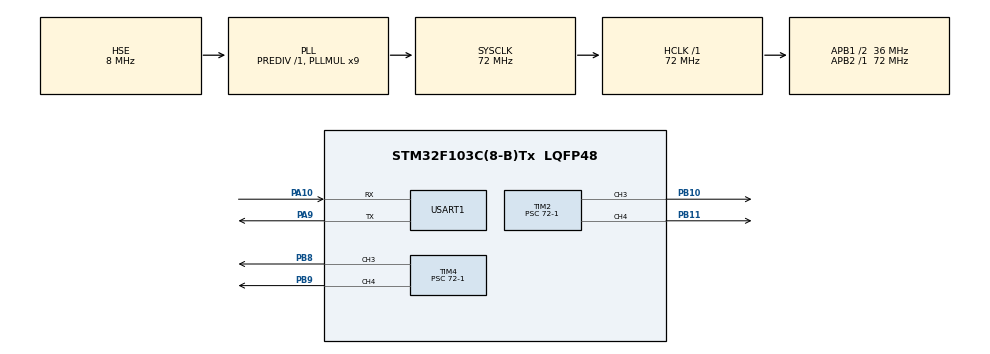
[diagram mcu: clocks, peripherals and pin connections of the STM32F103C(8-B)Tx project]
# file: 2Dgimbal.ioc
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Mcu.Family=STM32F1
Mcu.Name=STM32F103C(8-B)Tx
Mcu.Package=LQFP48
NVIC.PriorityGroup=NVIC_PRIORITYGROUP_4
NVIC.TIM2_IRQn=true\:0\:0\:false\:false\:true\:true\:true\:true
NVIC.USART1_IRQn=true\:0\:0\:false\:false\:true\:true\:true\:true
PA10.Mode=Asynchronous
PA10.Signal=USART1_RX
PA13.Mode=Serial_Wire
PA13.Signal=SYS_JTMS-SWDIO
PA14.Mode=Serial_Wire
PA14.Signal=SYS_JTCK-SWCLK
PA9.Mode=Asynchronous
PA9.Signal=USART1_TX
PB10.Signal=S_TIM2_CH3
PB11.Signal=S_TIM2_CH4
PB8.Signal=S_TIM4_CH3
PB9.Signal=S_TIM4_CH4
PD0-OSC_IN.Mode=HSE-External-Oscillator
PD0-OSC_IN.Signal=RCC_OSC_IN
PD1-OSC_OUT.Mode=HSE-External-Oscillator
PD1-OSC_OUT.Signal=RCC_OSC_OUT
ProjectManager.HeapSize=0x200
ProjectManager.StackSize=0x400
ProjectManager.TargetToolchain=CMake
RCC.AHBFreq_Value=72000000
RCC.APB1CLKDivider=RCC_HCLK_DIV2
RCC.APB1Freq_Value=36000000
RCC.APB1TimFreq_Value=72000000
RCC.APB2Freq_Value=72000000
RCC.APB2TimFreq_Value=72000000
RCC.HCLKFreq_Value=72000000
RCC.PLLMUL=RCC_PLL_MUL9
RCC.PLLSourceVirtual=RCC_PLLSOURCE_HSE
RCC.SYSCLKFreq_VALUE=72000000
RCC.SYSCLKSource=RCC_SYSCLKSOURCE_PLLCLK
RCC.USBFreq_Value=72000000
SH.S_TIM2_CH3.0=TIM2_CH3,PWM Generation3 CH3
SH.S_TIM2_CH4.0=TIM2_CH4,PWM Generation4 CH4
SH.S_TIM4_CH3.0=TIM4_CH3,PWM Generation3 CH3
SH.S_TIM4_CH4.0=TIM4_CH4,PWM Generation4 CH4
TIM2.AutoReloadPreload=TIM_AUTORELOAD_PRELOAD_ENABLE
TIM2.Channel-PWM\ Generation3\ CH3=TIM_CHANNEL_3
TIM2.Channel-PWM\ Generation4\ CH4=TIM_CHANNEL_4
TIM2.Period=1000-1
TIM2.Prescaler=72-1
TIM4.AutoReloadPreload=TIM_AUTORELOAD_PRELOAD_DISABLE
TIM4.Channel-PWM\ Generation3\ CH3=TIM_CHANNEL_3
TIM4.Channel-PWM\ Generation4\ CH4=TIM_CHANNEL_4
TIM4.Period=20000-1
TIM4.Prescaler=72-1
USART1.VirtualMode=VM_ASYNC
VP_TIM2_VS_ClockSourceINT.Mode=Internal
board=custom

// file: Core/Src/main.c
/* USER CODE BEGIN Header */
/**
  ******************************************************************************
  * @file           : main.c
  * @brief          : Main program body
  ******************************************************************************
  * @attention
  *
  * Copyright (c) 2025 STMicroelectronics.
  * All rights reserved.
  *
  * This software is licensed under terms that can be found in the LICENSE file
  * in the root directory of this software component.
  * If no LICENSE file comes with this software, it is provided AS-IS.
  *
  ******************************************************************************
  */
/* USER CODE END Header */
#include "main.h"
#include "tim.h"
#include "usart.h"
#include "gpio.h"

/* USER CODE BEGIN Includes */
#include "servo_app.h"
#include <stdio.h>

/* USER CODE END Includes */

/* USER CODE BEGIN PTD */
extern void demo_servo_init(void);
extern servo_player_t g_player;
/* USER CODE END PTD */

/* USER CODE BEGIN PM */
// servo_app.h
extern float g_dx;
extern float g_dy;
extern char uart_buf[64];
extern int uart_idx;

uint8_t rx_byte;
/* USER CODE END PM */

void SystemClock_Config(void);

int main(void)
{

  /* MCU Configuration--------------------------------------------------------*/

  /* Reset of all peripherals, Initializes the Flash interface and the Systick. */
  HAL_Init();

  /* Configure the system clock */
  SystemClock_Config();

  /* Initialize all configured peripherals */
  MX_GPIO_Init();
  MX_TIM2_Init();
  MX_TIM4_Init();
  MX_USART1_UART_Init();
  /* USER CODE BEGIN 2 */
    HAL_UART_Receive_IT(&huart1, &rx_byte, 1);

    HAL_TIM_PWM_Start(&htim4, TIM_CHANNEL_3);
    HAL_TIM_PWM_Start(&htim4, TIM_CHANNEL_4);
    HAL_TIM_Base_Start_IT(&htim2);
    // 初始化舵�?
    servo_app_init();
    //servo_point_to(x_angle, y_angle);
  /* USER CODE END 2 */

  /* Infinite loop */
  /* USER CODE BEGIN WHILE */
  while (1)
  {
      update_servo_from_vector();
      HAL_Delay(5); // 50Hz 刷新
//      // 底边
//      for (float nx = 0.0f; nx <= 1.0f; nx += 0.05f) {
//          servo_point_norm(nx, 0.0f);
//
//      }
//      HAL_Delay(500);
//      // 右边
//      for (float ny = 0.0f; ny <= 1.0f; ny += 0.05f) {
//          servo_point_norm(1.0f, ny);
//
//      }
//      HAL_Delay(500);
//      // 顶边
//      for (float nx = 1.0f; nx >= 0.0f; nx -= 0.05f) {
//          servo_point_norm(nx, 1.0f);
//
//      }
//      HAL_Delay(500);
//      // 左边
//      for (float ny = 1.0f; ny >= 0.0f; ny -= 0.05f) {
//          servo_point_norm(0.0f, ny);
//
//      }
//      HAL_Delay(500);

    /* USER CODE END WHILE */

  }
}

void SystemClock_Config(void)
{
  RCC_OscInitTypeDef RCC_OscInitStruct = {0};
  RCC_ClkInitTypeDef RCC_ClkInitStruct = {0};

  /** Initializes the RCC Oscillators according to the specified parameters
  * in the RCC_OscInitTypeDef structure.
  */
  RCC_OscInitStruct.OscillatorType = RCC_OSCILLATORTYPE_HSE;
  RCC_OscInitStruct.HSEState = RCC_HSE_ON;
  RCC_OscInitStruct.HSEPredivValue = RCC_HSE_PREDIV_DIV1;
  RCC_OscInitStruct.HSIState = RCC_HSI_ON;
  RCC_OscInitStruct.PLL.PLLState = RCC_PLL_ON;
  RCC_OscInitStruct.PLL.PLLSource = RCC_PLLSOURCE_HSE;
  RCC_OscInitStruct.PLL.PLLMUL = RCC_PLL_MUL9;
  if (HAL_RCC_OscConfig(&RCC_OscInitStruct) != HAL_OK)
  {
    Error_Handler();
  }

  /** Initializes the CPU, AHB and APB buses clocks
  */
  RCC_ClkInitStruct.ClockType = RCC_CLOCKTYPE_HCLK|RCC_CLOCKTYPE_SYSCLK
                              |RCC_CLOCKTYPE_PCLK1|RCC_CLOCKTYPE_PCLK2;
  RCC_ClkInitStruct.SYSCLKSource = RCC_SYSCLKSOURCE_PLLCLK;
  RCC_ClkInitStruct.AHBCLKDivider = RCC_SYSCLK_DIV1;
  RCC_ClkInitStruct.APB1CLKDivider = RCC_HCLK_DIV2;
  RCC_ClkInitStruct.APB2CLKDivider = RCC_HCLK_DIV1;

  if (HAL_RCC_ClockConfig(&RCC_ClkInitStruct, FLASH_LATENCY_2) != HAL_OK)
  {
    Error_Handler();
  }
}

/* USER CODE BEGIN 4 */
// 定时器中断推进插�?
extern servo_player_t g_player;
void HAL_TIM_PeriodElapsedCallback(TIM_HandleTypeDef *htim)
{
    if (htim->Instance == TIM2)
    {
        servo_player_tick(&g_player);
        __HAL_TIM_SET_COMPARE(&htim4, TIM_CHANNEL_3, angle_to_pwm_270(g_player.base.current_deg));
        __HAL_TIM_SET_COMPARE(&htim4, TIM_CHANNEL_4, angle_to_pwm_270(g_player.arm.current_deg));
    }
}

void HAL_UART_RxCpltCallback(UART_HandleTypeDef *huart)
{
    if (huart->Instance == USART1)
    {
        char c = rx_byte;

        if (c == '\n') {
            uart_buf[uart_idx] = '\0';
            parse_vector(uart_buf, &g_dx, &g_dy);

            char dbg[64];
            sprintf(dbg, "dx=%.2f, dy=%.2f\r\n", g_dx, g_dy);
            uart_debug_print(dbg);

            uart_idx = 0;
        }
        else if (uart_idx < sizeof(uart_buf) - 1) {
            uart_buf[uart_idx++] = c;
        }

        HAL_UART_Receive_IT(&huart1, &rx_byte, 1);
    }
}

/* USER CODE END 4 */

void Error_Handler(void)
{
  __disable_irq();
  while (1)
  {
  }
}
